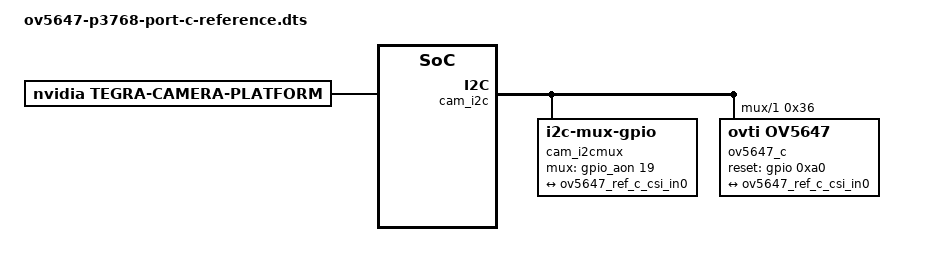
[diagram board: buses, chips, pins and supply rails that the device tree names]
/dts-v1/;
/plugin/;

/ {
	overlay-name = "OV5647 reference route C reset-only for p3768/p3767";
	jetson-header-name = "Jetson 22pin CSI Connector";
	compatible =
		"nvidia,p3768-0000+p3767-0000",
		"nvidia,p3768-0000+p3767-0001",
		"nvidia,p3768-0000+p3767-0003",
		"nvidia,p3768-0000+p3767-0004",
		"nvidia,p3768-0000+p3767-0005";

	/*
	 * Current software-most-correct reference branch for further comparison:
	 *
	 * - route C / serial_c / port-index 2 / 2 lanes
	 * - reset-only semantics on GPIO token 0xa0
	 * - no pwdn-gpios
	 * - mclk_khz = 25000 in DT, matching the reviewed external Orin NX sample
	 * - discontinuous_clk = "yes"
	 * - cil_settletime = "0"
	 *
	 * This is not declared electrically proven. It is the repository's
	 * baseline "best software guess" after route-A, route-C, lane-polarity,
	 * PWDN, test-pattern, and settle-time experiments.
	 */

	fragment@0 {
		target-path = "/";

		__overlay__ {
			tegra-capture-vi {
				num-channels = <1>;

				ports {
					#address-cells = <1>;
					#size-cells = <0>;

					port@1 {
						reg = <0>;

						ov5647_ref_c_vi_in0: endpoint {
							port-index = <2>;
							bus-width = <2>;
							remote-endpoint = <&ov5647_ref_c_csi_out0>;
						};
					};
				};
			};

			tegra-camera-platform {
				compatible = "nvidia, tegra-camera-platform";

				modules {
					module1 {
						badge = "ov5647_reference_route_c";
						position = "rear";
						orientation = "1";

						drivernode0 {
							pcl_id = "v4l2_sensor";
							sysfs-device-tree =
								"/sys/firmware/devicetree/base/bus@0/cam_i2cmux/i2c@1/ov5647_c@36";
						};
					};
				};
			};

			bus@0 {
				host1x@13e00000 {
					nvcsi@15a00000 {
						num-channels = <1>;
						#address-cells = <1>;
						#size-cells = <0>;

						channel@1 {
							reg = <0>;

							ports {
								#address-cells = <1>;
								#size-cells = <0>;

								port@0 {
									reg = <0>;

									ov5647_ref_c_csi_in0: endpoint@2 {
										port-index = <2>;
										bus-width = <2>;
										remote-endpoint = <&ov5647_ref_c_out0>;
									};
								};

								port@1 {
									reg = <1>;

									ov5647_ref_c_csi_out0: endpoint@3 {
										remote-endpoint = <&ov5647_ref_c_vi_in0>;
									};
								};
							};
						};
					};
				};

				cam_i2cmux {
					status = "okay";
					compatible = "i2c-mux-gpio";
					#address-cells = <1>;
					#size-cells = <0>;
					mux-gpios = <&gpio_aon 19 0>;
					i2c-parent = <&cam_i2c>;

					i2c@0 {
						status = "okay";
						reg = <0>;
						#address-cells = <1>;
						#size-cells = <0>;

						ov5647_a@36 {
							reg = <0x36>;
							status = "disabled";
						};
					};

					i2c@1 {
						status = "okay";
						reg = <1>;
						#address-cells = <1>;
						#size-cells = <0>;

						ov5647_c@36 {
							status = "okay";
							compatible = "ovti,ov5647";
							reg = <0x36>;
							devnode = "video0";
							physical_w = "3.680";
							physical_h = "2.760";
							sensor_model = "ov5647";
							use_sensor_mode_id = "true";
							mclk = "extperiph1";
							clocks = <&bpmp 0x24>;
							clock-names = "extperiph1";
							avdd-reg = "vana";
							dvdd-reg = "vdig";
							iovdd-reg = "vif";
							reset-gpios = <&gpio 0xa0 0>;

							mode0 {
								mclk_khz = "25000";
								num_lanes = "2";
								tegra_sinterface = "serial_c";
								lane_polarity = "0";
								phy_mode = "DPHY";
								discontinuous_clk = "yes";
								dpcm_enable = "false";
								cil_settletime = "0";
								active_w = "640";
								active_h = "480";
								mode_type = "bayer";
								pixel_phase = "bggr";
								csi_pixel_bit_depth = "10";
								readout_orientation = "90";
								line_length = "1852";
								inherent_gain = "1";
								mclk_multiplier = "2.33";
								pix_clk_hz = "58333000";
								gain_factor = "16";
								framerate_factor = "1000000";
								exposure_factor = "1000000";
								min_gain_val = "16";
								max_gain_val = "1023";
								step_gain_val = "1";
								default_gain = "32";
								min_hdr_ratio = "1";
								max_hdr_ratio = "1";
								min_framerate = "1000000";
								max_framerate = "60000000";
								step_framerate = "1";
								default_framerate = "60000000";
								min_exp_time = "4";
								max_exp_time = "500000";
								step_exp_time = "1";
								default_exp_time = "1000";
								embedded_metadata_height = "0";
							};

							ports {
								#address-cells = <1>;
								#size-cells = <0>;

								port@0 {
									reg = <0>;

									ov5647_ref_c_out0: endpoint {
										port-index = <2>;
										bus-width = <2>;
										remote-endpoint = <&ov5647_ref_c_csi_in0>;
									};
								};
							};
						};
					};
				};
			};
		};
	};
};
